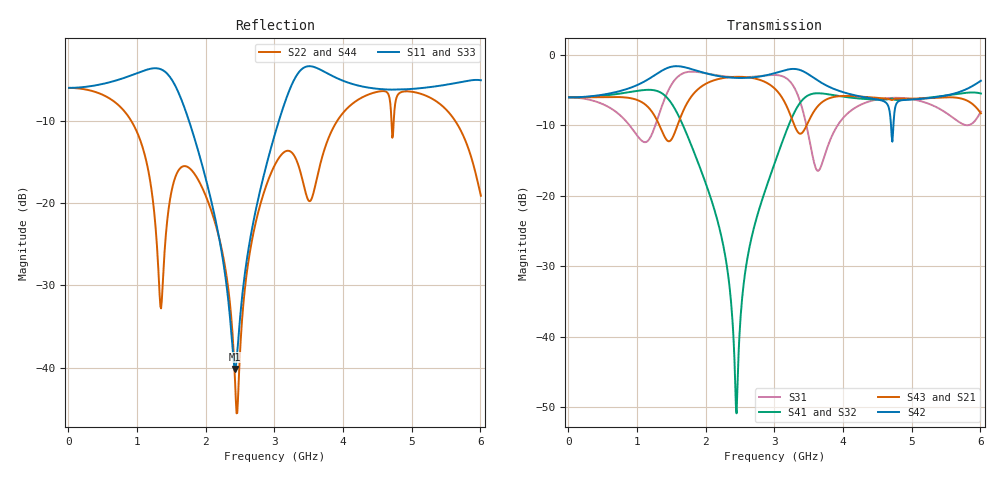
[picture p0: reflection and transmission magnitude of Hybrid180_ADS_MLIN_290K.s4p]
! Created Sat Jan  8 20:36:32 2022
# hz S ma R 50
! 4 Port Network Data from SP1.SP block
! freq  magS11  angS11  magS12  angS12  magS13  angS13  magS14  angS14
!  magS21  angS21  magS22  angS22  magS23  angS23  magS24  angS24
!  magS31  angS31  magS32  angS32  magS33  angS33  magS34  angS34
!  magS41  angS41  magS42  angS42  magS43  angS43  magS44  angS44
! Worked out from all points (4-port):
!   601 points, 10 MHz to 6.01 GHz, reference 50 ohm
!   strongest paths, dB at 10 MHz, 1.51 GHz, 3.01 GHz, 4.51 GHz, 6.01 GHz:
!     S42: -6.0, -1.7, -2.6, -6.3, -3.7
!     S43: -6.0, -11.9, -4.8, -6.1, -8.3
!     S21: -6.0, -11.9, -4.8, -6.1, -8.3
!     S41: -6.0, -7.0, -15.2, -6.3, -5.5
!     S32: -6.0, -7.0, -15.2, -6.3, -5.5
!     S31: -6.0, -4.1, -2.9, -6.3, -8.0
!   lowest |S11| = -40.2 dB at 2.43 GHz (marker M1), VSWR 1.02, Z = 51 - j0.22 ohm
!   |S11| at or under -10 dB: 1.756 GHz to 3.067 GHz (1.312 GHz wide, 54.4 % of centre)
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1e7  0.5 179.7  0.5 -0.4  0.4999 -0.6  0.4999 -1.0
     0.5 -0.4  0.4999 179.3  0.4999 -1.0  0.4999 -1.0
     0.4999 -0.6  0.4999 -1.0  0.5 179.7  0.5 -0.4
     0.4999 -1.0  0.4999 -1.0  0.5 -0.4  0.4999 179.3
1.35e9  0.648 85.9  0.2978 -68.8  0.4171 -5.1  0.5387 -160.4
        0.2978 -68.8  0.02289 131.7  0.5387 -160.4  0.7666 -137.3
        0.4171 -5.1  0.5387 -160.4  0.648 85.9  0.2978 -68.8
        0.5387 -160.4  0.7666 -137.3  0.2978 -68.8  0.02289 131.7
1.54e9  0.5308 51.0  0.2737 -39.2  0.6556 -23.1  0.4234 163.6
        0.2737 -39.2  0.1364 168.1  0.4234 163.6  0.83 -166.4
        0.6556 -23.1  0.4234 163.6  0.5308 51.0  0.2737 -39.2
        0.4234 163.6  0.83 -166.4  0.2737 -39.2  0.1364 168.1
2.43e9  0.009823 -12.7  0.6988 -99.0  0.6951 -99.4  0.004786 114.1
        0.6988 -99.0  0.007901 52.6  0.004786 114.1  0.6872 81.5
        0.6951 -99.4  0.004786 114.1  0.009823 -12.7  0.6988 -99.0
        0.004786 114.1  0.6872 81.5  0.6988 -99.0  0.007901 52.6
3.4e9  0.6496 -94.5  0.2786 -144.8  0.4284 166.0  0.4736 159.2
       0.2786 -144.8  0.1437 -170.2  0.4736 159.2  0.773 -42.9
       0.4284 166.0  0.4736 159.2  0.6496 -94.5  0.2786 -144.8
       0.4736 159.2  0.773 -42.9  0.2786 -144.8  0.1437 -170.2
4.53e9  0.4923 168.4  0.4947 167.9  0.4858 -175.2  0.4817 6.3
        0.4947 167.9  0.4758 170.1  0.4817 6.3  0.4796 -172.6
        0.4858 -175.2  0.4817 6.3  0.4923 168.4  0.4947 167.9
        0.4817 6.3  0.4796 -172.6  0.4947 167.9  0.4758 170.1
6.01e9  0.5562 65.1  0.3848 91.6  0.3959 142.4  0.5325 -171.8
        0.3848 91.6  0.1106 -24.4  0.5325 -171.8  0.6555 35.3
        0.3959 142.4  0.5325 -171.8  0.5562 65.1  0.3848 91.6
        0.5325 -171.8  0.6555 35.3  0.3848 91.6  0.1106 -24.4
